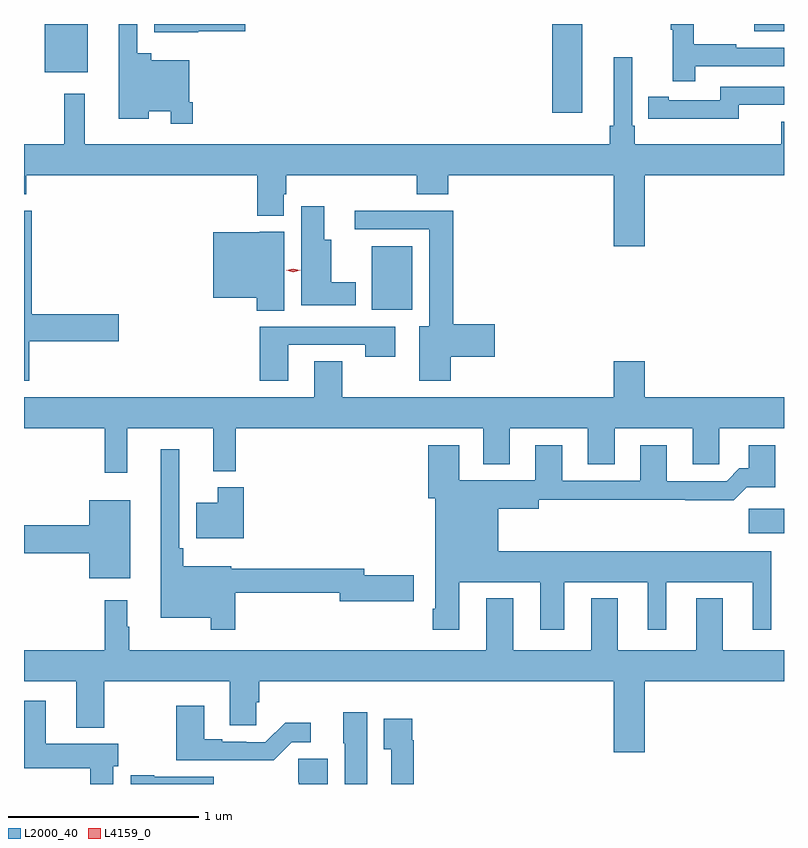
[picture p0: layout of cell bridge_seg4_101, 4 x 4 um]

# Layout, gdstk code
import gdstk
lib = gdstk.Library(unit=1e-6, precision=1e-09)
def R(c, l, rs):  # rectangles x0, y0, x1, y1
    for r in rs: c.add(gdstk.rectangle(r[:2], r[2:], *l))
def P(c, l, *ps):  # polygons
    for p in ps: c.add(gdstk.Polygon(p, *l))
L2000_40 = (2000, 40)
L4159_0 = (4159, 0)

bridge_seg4_101 = lib.new_cell('bridge_seg4_101')
R(bridge_seg4_101, L2000_40, [(441.444,776.288,441.629,776.417), (439.46,777.464,439.672,777.799), (440.408,778.5,440.566,778.968), (437.738,778.715,437.965,778.968), (441.473,778.931,441.629,778.968)])
P(bridge_seg4_101, L2000_40, [(438.518,778.555),(438.498,778.555),(438.498,778.777),(438.299,778.777),(438.299,778.813),(438.225,778.813),(438.225,778.968),(438.128,778.968),(438.128,778.469),(438.286,778.469),(438.286,778.508),(438.402,778.508),(438.402,778.443),(438.518,778.443)],
  [(441.161,778.746),(441.629,778.746),(441.629,778.842),(441.377,778.842),(441.377,778.862),(441.154,778.862),(441.154,778.968),(441.033,778.968),(441.033,778.939),(441.044,778.939),(441.044,778.668),(441.161,778.668)],
  [(438.546,778.931),(438.793,778.931),(438.793,778.968),(438.314,778.968),(438.314,778.925),(438.546,778.925)],
  [(440.896,778.172),(441.629,778.172),(441.629,778.453),(441.614,778.453),(441.614,778.336),(440.843,778.336),(440.843,778.432),(440.829,778.432),(440.829,778.792),(440.732,778.792),(440.732,778.432),(440.713,778.432),(440.713,778.336),(437.95,778.336),(437.95,778.6),(437.841,778.6),(437.841,778.336),(437.629,778.336),(437.629,778.073),(437.642,778.073),(437.642,778.172),(438.857,778.172),(438.857,777.959),(438.997,777.959),(438.997,778.071),(439.01,778.071),(439.01,778.172),(439.697,778.172),(439.697,778.073),(439.862,778.073),(439.862,778.172),(440.732,778.172),(440.732,777.798),(440.896,777.798)],
  [(441.39,778.542),(441.629,778.542),(441.629,778.638),(441.294,778.638),(441.294,778.566),(441.022,778.566),(441.022,778.586),(440.914,778.586),(440.914,778.47),(441.022,778.47),(441.022,778.469),(441.39,778.469)],
  [(439.375,777.61),(439.246,777.61),(439.246,777.832),(439.21,777.832),(439.21,778.009),(439.088,778.009),(439.088,777.488),(439.375,777.488)],
  [(439.876,777.218),(440.107,777.218),(440.107,777.389),(439.889,777.389),(439.889,777.986),(439.371,777.986),(439.371,777.888),(439.763,777.888),(439.763,777.376),(439.709,777.376),(439.709,777.09),(439.876,777.09)],
  [(437.656,777.298),(438.127,777.298),(438.127,777.44),(437.669,777.44),(437.669,777.986),(437.629,777.986),(437.629,777.09),(437.656,777.09)],
  [(439,777.874),(438.87,777.874),(438.87,777.871),(438.626,777.871),(438.626,777.527),(438.854,777.527),(438.854,777.46),(439,777.46)],
  [(439.021,777.279),(439.426,777.279),(439.426,777.216),(439.582,777.216),(439.582,777.375),(438.869,777.375),(438.869,777.09),(439.021,777.09)],
  [(438.173,776.84),(438.626,776.84),(438.626,776.615),(438.743,776.615),(438.743,776.84),(440.045,776.84),(440.045,776.651),(440.185,776.651),(440.185,776.84),(440.597,776.84),(440.597,776.65),(440.737,776.65),(440.737,776.84),(441.149,776.84),(441.149,776.65),(441.288,776.65),(441.288,776.84),(441.629,776.84),(441.629,777.004),(440.896,777.004),(440.896,777.193),(440.732,777.193),(440.732,777.004),(439.305,777.004),(439.305,777.194),(439.157,777.194),(439.157,777.004),(437.629,777.004),(437.629,776.84),(438.055,776.84),(438.055,776.607),(438.173,776.607)],
  [(439.921,776.03),(440.345,776.03),(440.345,775.779),(440.473,775.779),(440.473,776.03),(440.912,776.03),(440.912,775.779),(441.01,775.779),(441.01,776.03),(441.464,776.03),(441.464,775.779),(441.562,775.779),(441.562,776.194),(440.125,776.194),(440.125,776.417),(440.338,776.417),(440.338,776.464),(441.109,776.464),(441.109,776.462),(441.365,776.462),(441.434,776.531),(441.583,776.531),(441.583,776.752),(441.443,776.752),(441.443,776.629),(441.394,776.629),(441.327,776.562),(441.013,776.562),(441.013,776.752),(440.873,776.752),(440.873,776.565),(440.461,776.565),(440.461,776.752),(440.321,776.752),(440.321,776.566),(439.921,776.566),(439.921,776.752),(439.757,776.752),(439.757,776.472),(439.793,776.472),(439.793,775.891),(439.781,775.891),(439.781,775.779),(439.921,775.779)],
  [(438.74,775.974),(439.292,775.974),(439.292,775.931),(439.681,775.931),(439.681,776.066),(439.42,776.066),(439.42,776.102),(438.721,776.102),(438.721,776.113),(438.467,776.113),(438.467,776.209),(438.447,776.209),(438.447,776.731),(438.35,776.731),(438.35,775.844),(438.612,775.844),(438.612,775.779),(438.74,775.779)],
  [(438.785,776.53),(438.65,776.53),(438.65,776.449),(438.536,776.449),(438.536,776.261),(438.785,776.261)],
  [(438.187,776.461),(437.972,776.461),(437.972,776.33),(437.629,776.33),(437.629,776.183),(437.972,776.183),(437.972,776.051),(438.187,776.051)],
  [(440.896,775.508),(441.629,775.508),(441.629,775.672),(441.307,775.672),(441.307,775.945),(441.167,775.945),(441.167,775.672),(440.755,775.672),(440.755,775.945),(440.615,775.945),(440.615,775.672),(440.203,775.672),(440.203,775.945),(440.063,775.945),(440.063,775.672),(438.184,775.672),(438.184,775.796),(438.172,775.796),(438.172,775.936),(438.055,775.936),(438.055,775.672),(437.629,775.672),(437.629,775.508),(437.903,775.508),(437.903,775.265),(438.051,775.265),(438.051,775.508),(438.713,775.508),(438.713,775.276),(438.852,775.276),(438.852,775.398),(438.866,775.398),(438.866,775.508),(440.732,775.508),(440.732,775.134),(440.896,775.134)],
  [(438.1,775.062),(438.125,775.062),(438.125,775.18),(437.743,775.18),(437.743,775.405),(437.629,775.405),(437.629,775.052),(437.978,775.052),(437.978,774.968),(438.1,774.968)],
  [(439.038,775.188),(439.138,775.188),(439.138,775.291),(439.003,775.291),(438.9,775.188),(438.8,775.188),(438.8,775.191),(438.673,775.191),(438.673,775.204),(438.577,775.204),(438.577,775.381),(438.43,775.381),(438.43,775.094),(438.943,775.094)],
  [(439.435,775.345),(439.31,775.345),(439.31,775.182),(439.316,775.182),(439.316,774.968),(439.435,774.968)],
  [(439.679,775.199),(439.672,775.199),(439.672,775.312),(439.523,775.312),(439.523,775.151),(439.563,775.151),(439.563,774.968),(439.679,774.968)],
  [(439.228,775.101),(439.072,775.101),(439.072,774.978),(439.076,774.978),(439.076,774.968),(439.228,774.968)],
  [(438.628,775.006),(438.315,775.006),(438.315,775.015),(438.192,775.015),(438.192,774.968),(438.628,774.968)])
P(bridge_seg4_101, L4159_0, [(439.046,777.661),(439.008,777.671),(439.008,777.671),(439.008,777.672),(439.046,777.681),(439.083,777.672),(439.083,777.671),(439.083,777.671)])

lib.write_gds('bridge_seg4_101.gds')
